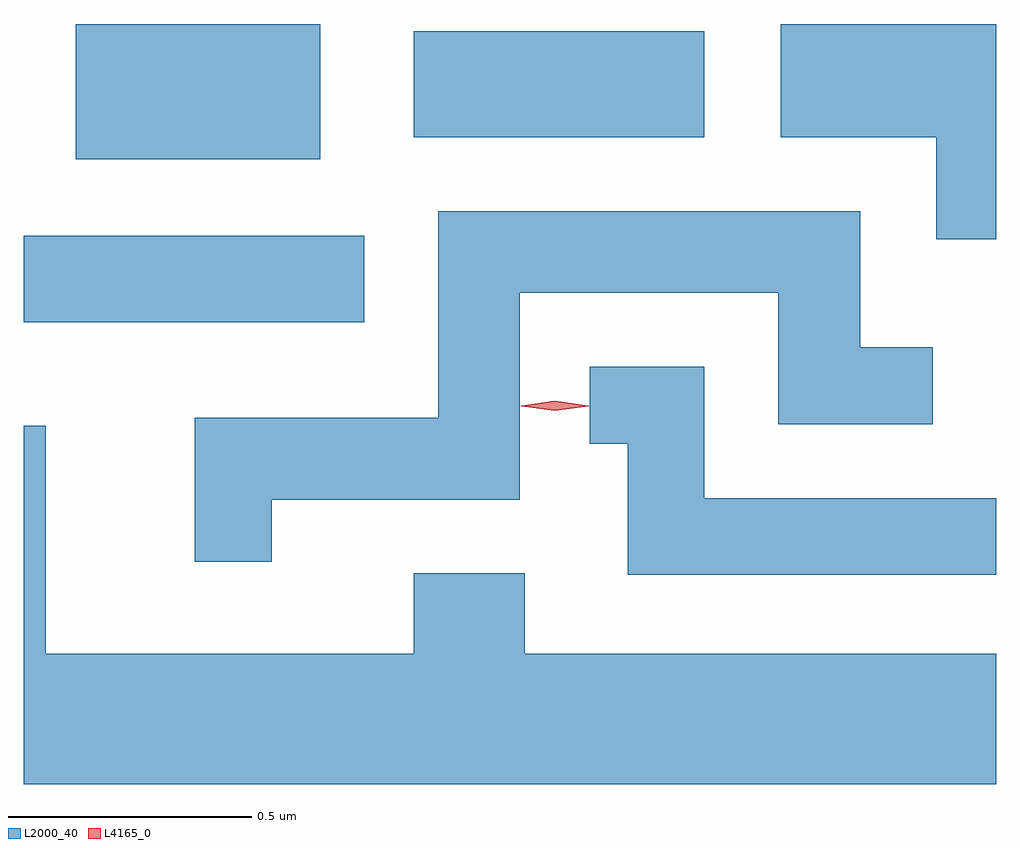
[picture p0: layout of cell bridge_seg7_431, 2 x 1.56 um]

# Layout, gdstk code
import gdstk
lib = gdstk.Library(unit=1e-6, precision=1e-09)
def R(c, l, rs):  # rectangles x0, y0, x1, y1
    for r in rs: c.add(gdstk.rectangle(r[:2], r[2:], *l))
def P(c, l, *ps):  # polygons
    for p in ps: c.add(gdstk.Polygon(p, *l))
L2000_40 = (2000, 40)
L4165_0 = (4165, 0)

bridge_seg7_431 = lib.new_cell('bridge_seg7_431')
R(bridge_seg7_431, L2000_40, [(1092.089,1728.586,1092.789,1728.764), (1092.196,1728.921,1092.699,1729.199), (1092.891,1728.966,1093.489,1729.184)])
P(bridge_seg7_431, L2000_40, [(1094.089,1729.199),(1093.646,1729.199),(1093.646,1728.966),(1093.966,1728.966),(1093.966,1728.756),(1094.089,1728.756)],
  [(1092.599,1728.221),(1093.109,1728.221),(1093.109,1728.646),(1093.641,1728.646),(1093.641,1728.376),(1093.958,1728.376),(1093.958,1728.534),(1093.809,1728.534),(1093.809,1728.814),(1092.941,1728.814),(1092.941,1728.389),(1092.441,1728.389),(1092.441,1728.093),(1092.599,1728.093)],
  [(1094.089,1728.224),(1093.489,1728.224),(1093.489,1728.494),(1093.253,1728.494),(1093.253,1728.336),(1093.331,1728.336),(1093.331,1728.066),(1094.089,1728.066)],
  [(1094.089,1727.904),(1093.119,1727.904),(1093.119,1728.069),(1092.891,1728.069),(1092.891,1727.904),(1092.134,1727.904),(1092.134,1728.373),(1092.089,1728.373),(1092.089,1727.636),(1094.089,1727.636)])
P(bridge_seg7_431, L4165_0, [(1093.181,1728.404),(1093.112,1728.413),(1093.112,1728.414),(1093.112,1728.414),(1093.181,1728.424),(1093.251,1728.414),(1093.251,1728.414),(1093.251,1728.413)])

lib.write_gds('bridge_seg7_431.gds')
